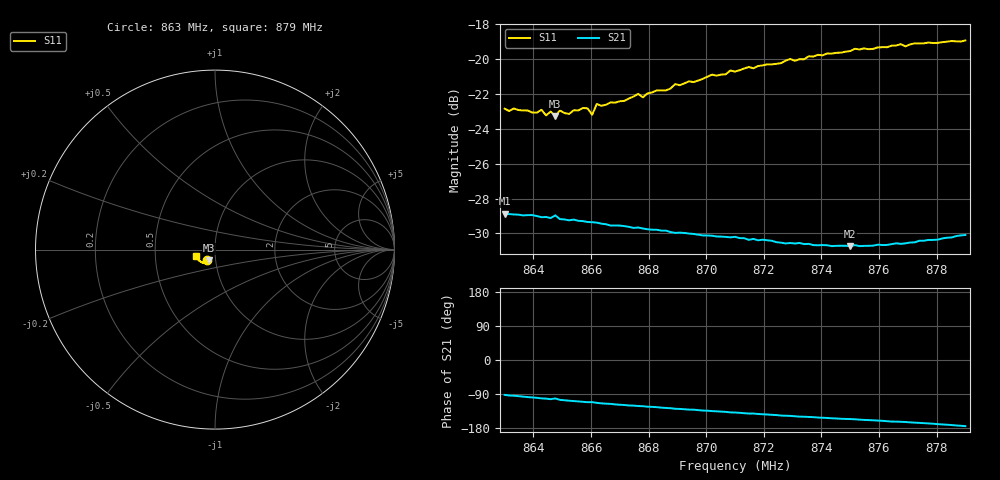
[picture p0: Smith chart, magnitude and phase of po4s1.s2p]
# HZ S RI R 50
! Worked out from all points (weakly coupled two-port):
!   101 points, 863 MHz to 879 MHz, reference 50 ohm
!   highest |S21| = -28.87 dB at 863 MHz (marker M1); lowest = -30.7 dB at 875 MHz (marker M2)
!   lowest |S11| = -23.3 dB at 864.76 MHz (marker M3), VSWR 1.15, Z = 46.4 - j5.57 ohm
!   |S11| at or under -10 dB: start of sweep to end of sweep
!   S12 and S22 are empty: the file has one direction only
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8.63e8  -0.0426 -0.0581  -0.00132 -0.036  0 0  0 0
8.6396e8  -0.0388 -0.0586  -0.00544 -0.0353  0 0  0 0
8.6428e8  -0.0383 -0.0604  -0.00693 -0.0345  0 0  0 0
8.6444e8  -0.0369 -0.0582  -0.00726 -0.0345  0 0  0 0
8.646e8  -0.0377 -0.0598  -0.00808 -0.0341  0 0  0 0
8.6476e8  -0.0339 -0.0598  -0.00706 -0.0349  0 0  0 0
8.6492e8  -0.0367 -0.0611  -0.00909 -0.0335  0 0  0 0
8.6524e8  -0.0352 -0.0601  -0.0103 -0.0329  0 0  0 0
8.6572e8  -0.0356 -0.0631  -0.0119 -0.0322  0 0  0 0
8.6588e8  -0.0363 -0.0625  -0.0124 -0.0318  0 0  0 0
8.6604e8  -0.0376 -0.0581  -0.0123 -0.0318  0 0  0 0
8.662e8  -0.0374 -0.0643  -0.0133 -0.0312  0 0  0 0
8.6716e8  -0.0369 -0.0663  -0.016 -0.0291  0 0  0 0
8.6764e8  -0.0397 -0.0688  -0.0172 -0.028  0 0  0 0
8.678e8  -0.0392 -0.0671  -0.0173 -0.0277  0 0  0 0
8.6844e8  -0.0409 -0.0703  -0.0188 -0.0262  0 0  0 0
8.702e8  -0.0506 -0.0747  -0.022 -0.0221  0 0  0 0
8.71e8  -0.0545 -0.0742  -0.0232 -0.0205  0 0  0 0
8.7372e8  -0.0734 -0.0704  -0.0256 -0.0143  0 0  0 0
8.75e8  -0.0836 -0.0643  -0.0265 -0.0119  0 0  0 0
8.7644e8  -0.0938 -0.056  -0.0281 -0.00887  0 0  0 0
8.79e8  -0.1076 -0.0348  -0.0312 -0.00302  0 0  0 0
